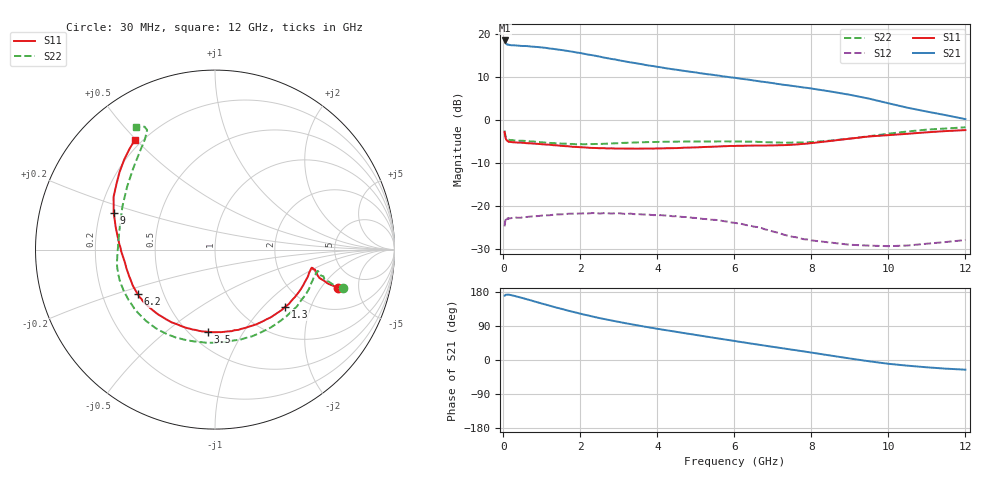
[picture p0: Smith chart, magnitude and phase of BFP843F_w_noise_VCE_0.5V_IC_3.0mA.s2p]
! Infineon Technologies  Discrete & RF Semiconductors
! BFP843F
! VCE =  0.5 V,  IC =  3.0 mA
! Common Emitter S-Parameters:  Aug 2013
# GHz  S  MA  R  50
!  f  S11  S21  S12  S22
! GHz  MAG  ANG  MAG  ANG  MAG  ANG  MAG  ANG
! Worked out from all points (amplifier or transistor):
!   103 points, 30 MHz to 12 GHz, reference 50 ohm
!   highest |S21| = 18.4 dB at 30 MHz (marker M1)
!   |S21| within 3 dB of that: start of sweep to 2.042 GHz
!   unconditionally stable (mu >= 1): 308.3 MHz to 421.2 MHz; 5.016 GHz to end of sweep
!   at 400 MHz: K = 1.00, MAG = 19.8 dB, |S12| = -22.8 dB
!   at 3.7 GHz: K = 0.87, MSG = 17.4 dB, |S12| = -22.1 dB
!   at 12 GHz: K = 1.93, MAG = 8.5 dB, |S12| = -28.0 dB
!   lowest NFmin = 0.93 dB at 450 MHz
!   S11 on the Smith chart (normalised r, x): 30 MHz: 3.37, -2.91; 1.3 GHz: 1.57, -1.35; 3.5 GHz: 0.61, -0.71; 6.2 GHz: 0.36, -0.24; 9 GHz: 0.26, +0.17; 12 GHz: 0.17, +0.49
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0.03  0.7148 -17.2  8.343 169.6  0.0573 35.7  0.7458 -16.8
0.04  0.6595 -16.8  8.036 169.8  0.063 28.7  0.6904 -16.6
0.05  0.6299 -15.9  7.779 171.7  0.0669 26.1  0.657 -15.7
0.07  0.5852 -13.7  7.609 172.2  0.0656 16.5  0.6217 -13.8
0.1  0.5686 -11.3  7.45 172.3  0.0695 12.8  0.5969 -12.7
0.15  0.5526 -10.7  7.396 172.3  0.071 10.6  0.5803 -12.1
0.6  0.5322 -19.7  7.184 160.5  0.0736 3.3  0.5636 -26.7
1  0.5173 -30.9  6.914 148.9  0.0765 2.0  0.5446 -42.9
1.3  0.5042 -39.3  6.655 140.4  0.0783 0.1  0.5332 -54.9
1.7  0.4889 -50.5  6.259 129.7  0.0804 -2.4  0.5212 -70.7
2.1  0.4753 -61.3  5.835 119.7  0.0812 -5.3  0.5166 -85.7
2.7  0.4621 -76.5  5.19 106.4  0.0815 -9.7  0.5253 -103.8
3.5  0.4598 -94.8  4.484 91.1  0.0796 -15.6  0.5433 -121.8
4.1  0.4626 -108.2  4.058 80.7  0.0773 -19.4  0.5508 -132.5
5  0.4753 -127.0  3.539 66.1  0.0717 -25.7  0.5558 -146.9
6.1  0.4968 -147.9  3.023 48.6  0.0621 -33.0  0.5566 -164.1
6.2  0.4964 -149.9  2.981 47.0  0.061 -33.1  0.5566 -165.6
7.4  0.507 -171.8  2.509 28.7  0.0446 -34.6  0.5392 175.7
8.5  0.5652 167.8  2.125 11.7  0.0371 -23.9  0.5704 154.5
9  0.601 159.9  1.945 4.0  0.035 -18.6  0.6025 144.3
10.5  0.6847 141.0  1.375 -15.0  0.0343 -0.1  0.7283 122.4
12  0.7555 126.4  1.013 -25.5  0.0397 14.7  0.8141 122.8
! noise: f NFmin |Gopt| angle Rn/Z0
0.45  0.93  0.25  10  0.08
0.9  0.95  0.25  20  0.09
1.5  1.04  0.25  27  0.09
1.9  1.09  0.24  40  0.09
2.4  1.14  0.23  53  0.1
3.5  1.23  0.24  79  0.17
5.5  1.35  0.23  133  0.27
10  2.24  0.43  -133  0.29
